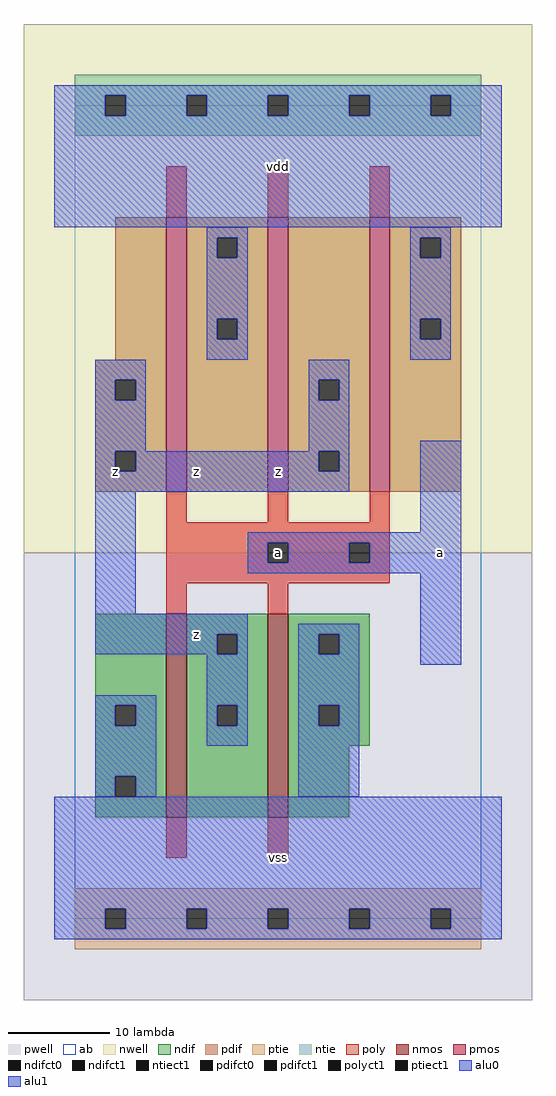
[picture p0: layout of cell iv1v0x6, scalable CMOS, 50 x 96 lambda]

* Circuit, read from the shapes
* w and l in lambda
.subckt iv1v0x6 a vdd vss z
M1 z a vss vss nfet w=20 l=2 m=2
M2 vdd a z vdd pfet w=27 l=2 m=3
.ends

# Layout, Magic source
magic
tech scmos
<< ab >>
rect 0 0 40 80
<< nwell >>
rect -5 36 45 88
<< pwell >>
rect -5 -8 45 36
<< poly >>
rect 9 69 11 74
rect 19 69 21 74
rect 29 69 31 74
rect 9 39 11 42
rect 19 39 21 42
rect 29 39 31 42
rect 9 37 31 39
rect 9 35 19 37
rect 21 35 27 37
rect 29 35 31 37
rect 9 33 31 35
rect 9 30 11 33
rect 19 30 21 33
rect 9 6 11 10
rect 19 6 21 10
<< ndif >>
rect 2 21 9 30
rect 2 19 4 21
rect 6 19 9 21
rect 2 14 9 19
rect 2 12 4 14
rect 6 12 9 14
rect 2 10 9 12
rect 11 28 19 30
rect 11 26 14 28
rect 16 26 19 28
rect 11 21 19 26
rect 11 19 14 21
rect 16 19 19 21
rect 11 10 19 19
rect 21 28 29 30
rect 21 26 24 28
rect 26 26 29 28
rect 21 21 29 26
rect 21 19 24 21
rect 26 19 29 21
rect 21 17 29 19
rect 21 10 27 17
<< pdif >>
rect 4 55 9 69
rect 2 53 9 55
rect 2 51 4 53
rect 6 51 9 53
rect 2 46 9 51
rect 2 44 4 46
rect 6 44 9 46
rect 2 42 9 44
rect 11 67 19 69
rect 11 65 14 67
rect 16 65 19 67
rect 11 59 19 65
rect 11 57 14 59
rect 16 57 19 59
rect 11 42 19 57
rect 21 53 29 69
rect 21 51 24 53
rect 26 51 29 53
rect 21 46 29 51
rect 21 44 24 46
rect 26 44 29 46
rect 21 42 29 44
rect 31 67 38 69
rect 31 65 34 67
rect 36 65 38 67
rect 31 59 38 65
rect 31 57 34 59
rect 36 57 38 59
rect 31 42 38 57
<< alu1 >>
rect -2 81 42 82
rect -2 79 3 81
rect 5 79 11 81
rect 13 79 19 81
rect 21 79 27 81
rect 29 79 35 81
rect 37 79 42 81
rect -2 68 42 79
rect 2 53 7 55
rect 2 51 4 53
rect 6 51 7 53
rect 2 46 7 51
rect 23 53 27 55
rect 23 51 24 53
rect 26 51 27 53
rect 23 46 27 51
rect 2 44 4 46
rect 6 44 24 46
rect 26 44 27 46
rect 2 42 27 44
rect 2 30 6 42
rect 34 38 38 47
rect 17 37 38 38
rect 17 35 19 37
rect 21 35 27 37
rect 29 35 38 37
rect 17 34 38 35
rect 2 28 17 30
rect 2 26 14 28
rect 16 26 17 28
rect 13 21 17 26
rect 13 19 14 21
rect 16 19 17 21
rect 13 17 17 19
rect 34 25 38 34
rect -2 1 42 12
rect -2 -1 3 1
rect 5 -1 11 1
rect 13 -1 19 1
rect 21 -1 27 1
rect 29 -1 35 1
rect 37 -1 42 1
rect -2 -2 42 -1
<< ptie >>
rect 0 1 40 3
rect 0 -1 3 1
rect 5 -1 11 1
rect 13 -1 19 1
rect 21 -1 27 1
rect 29 -1 35 1
rect 37 -1 40 1
rect 0 -3 40 -1
<< ntie >>
rect 0 81 40 83
rect 0 79 3 81
rect 5 79 11 81
rect 13 79 19 81
rect 21 79 27 81
rect 29 79 35 81
rect 37 79 40 81
rect 0 77 40 79
<< nmos >>
rect 9 10 11 30
rect 19 10 21 30
<< pmos >>
rect 9 42 11 69
rect 19 42 21 69
rect 29 42 31 69
<< polyct1 >>
rect 19 35 21 37
rect 27 35 29 37
<< ndifct0 >>
rect 4 19 6 21
rect 4 12 6 14
rect 24 26 26 28
rect 24 19 26 21
<< ndifct1 >>
rect 14 26 16 28
rect 14 19 16 21
<< ntiect1 >>
rect 3 79 5 81
rect 11 79 13 81
rect 19 79 21 81
rect 27 79 29 81
rect 35 79 37 81
<< ptiect1 >>
rect 3 -1 5 1
rect 11 -1 13 1
rect 19 -1 21 1
rect 27 -1 29 1
rect 35 -1 37 1
<< pdifct0 >>
rect 14 65 16 67
rect 14 57 16 59
rect 34 65 36 67
rect 34 57 36 59
<< pdifct1 >>
rect 4 51 6 53
rect 4 44 6 46
rect 24 51 26 53
rect 24 44 26 46
<< alu0 >>
rect 13 67 17 68
rect 13 65 14 67
rect 16 65 17 67
rect 13 59 17 65
rect 13 57 14 59
rect 16 57 17 59
rect 13 55 17 57
rect 33 67 37 68
rect 33 65 34 67
rect 36 65 37 67
rect 33 59 37 65
rect 33 57 34 59
rect 36 57 37 59
rect 33 55 37 57
rect 2 21 8 22
rect 2 19 4 21
rect 6 19 8 21
rect 2 14 8 19
rect 22 28 28 29
rect 22 26 24 28
rect 26 26 28 28
rect 22 21 28 26
rect 22 19 24 21
rect 26 19 28 21
rect 2 12 4 14
rect 6 12 8 14
rect 22 12 28 19
<< labels >>
rlabel alu1 4 44 4 44 6 z
rlabel alu1 12 28 12 28 6 z
rlabel alu1 12 44 12 44 6 z
rlabel alu1 20 6 20 6 6 vss
rlabel polyct1 20 36 20 36 6 a
rlabel alu1 20 44 20 44 6 z
rlabel alu1 20 74 20 74 6 vdd
rlabel alu1 36 36 36 36 6 a
<< end >>
